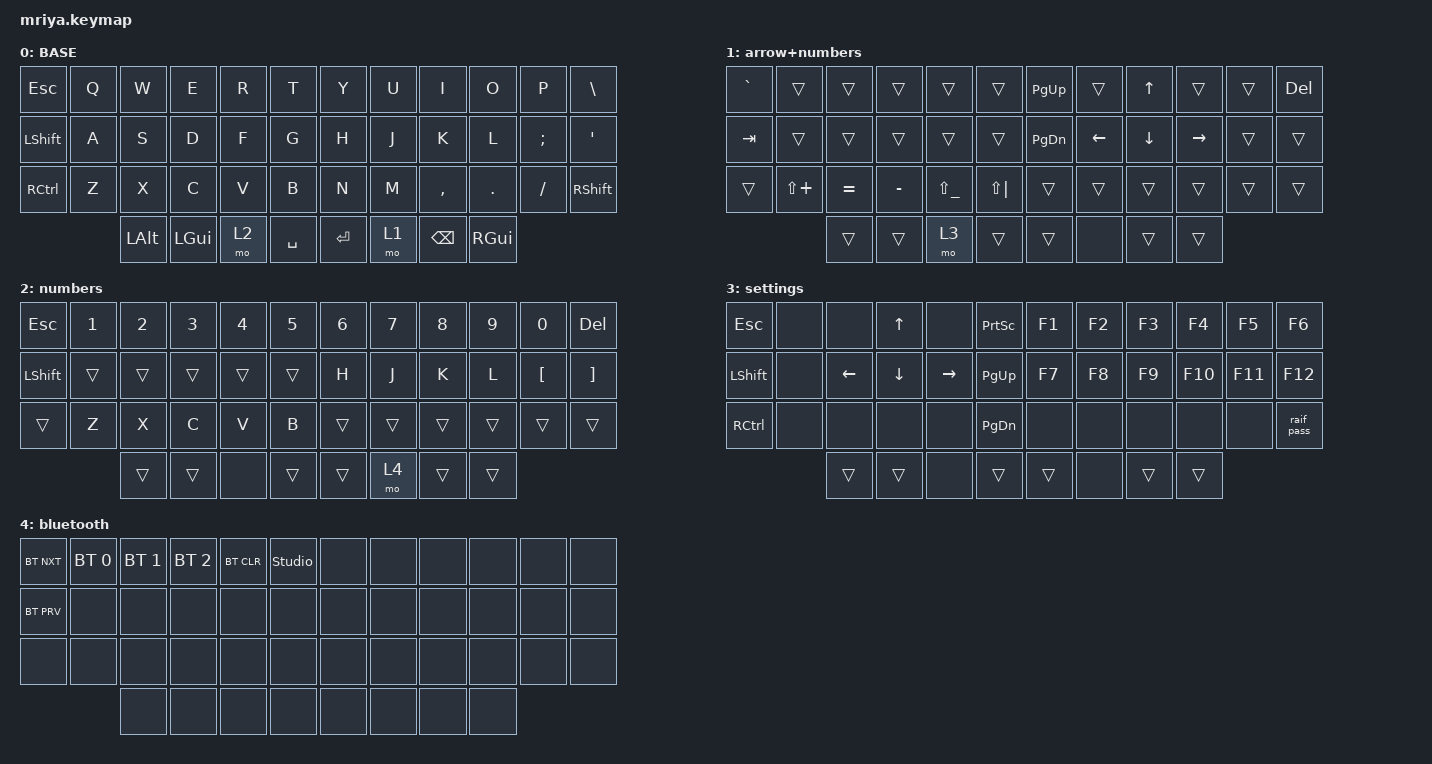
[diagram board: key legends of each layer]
/*
 * Copyright (c) 2023 Andrei Gaevskii
 *
 * SPDX-License-Identifier: MIT
 */

#include <behaviors.dtsi>
#include <dt-bindings/zmk/bt.h>
#include <dt-bindings/zmk/keys.h>

#define DEF 0
#define LWR 1
#define RSE 2
#define ADJ 3

&lt { quick_tap_ms = <200>; };

&mt { quick_tap_ms = <200>; };

/ {
    macros {
        raif_pass: raif_pass {
            compatible = "zmk,behavior-macro";
            #binding-cells = <0>;
            bindings = <&kp LS(N) &kp B &kp V &kp E &kp H &kp R &kp A &kp I &kp F &kp N2 &kp N6 &kp N1 &kp N0 &kp AMPS>;
            label = "RAIF_PASS";
        };
    };

    keymap {
        compatible = "zmk,keymap";

        BASE {
            bindings = <
  &kp ESCAPE      &kp Q  &kp W     &kp E     &kp R  &kp T        &kp Y      &kp U  &kp I      &kp O     &kp P     &kp BSLH
  &kp LEFT_SHIFT  &kp A  &kp S     &kp D     &kp F  &kp G        &kp H      &kp J  &kp K      &kp L     &kp SEMI  &kp SQT
  &kp RCTRL       &kp Z  &kp X     &kp C     &kp V  &kp B        &kp N      &kp M  &kp COMMA  &kp DOT   &kp FSLH  &kp RSHFT
                         &kp LALT  &kp LGUI  &mo 2  &kp SPACE    &kp ENTER  &mo 1  &kp BSPC   &kp RGUI
            >;
        };

        arrow+numbers {
            bindings = <
  &kp GRAVE  &trans        &trans     &trans     &trans         &trans          &kp PAGE_UP    &trans    &kp UP    &trans     &trans  &kp DELETE
  &kp TAB    &trans        &trans     &trans     &trans         &trans          &kp PAGE_DOWN  &kp LEFT  &kp DOWN  &kp RIGHT  &trans  &trans
  &trans     &kp LS(PLUS)  &kp EQUAL  &kp MINUS  &kp LS(UNDER)  &kp LS(PIPE)    &trans         &trans    &trans    &trans     &trans  &trans
                           &trans     &trans     &mo 3          &trans          &trans         &none     &trans    &trans
            >;
        };

        numbers {
            bindings = <
  &kp ESCAPE      &kp N1  &kp N2  &kp N3  &kp N4  &kp N5    &kp N6  &kp N7  &kp N8  &kp N9  &kp N0            &kp DEL
  &kp LEFT_SHIFT  &trans  &trans  &trans  &trans  &trans    &kp H   &kp J   &kp K   &kp L   &kp LEFT_BRACKET  &kp RIGHT_BRACKET
  &trans          &kp Z   &kp X   &kp C   &kp V   &kp B     &trans  &trans  &trans  &trans  &trans            &trans
                          &trans  &trans  &none   &trans    &trans  &mo 4   &trans  &trans
            >;
        };

        settings {
            bindings = <
  &kp ESC         &none  &none     &kp UP    &none      &kp PRINTSCREEN    &kp F1  &kp F2  &kp F3  &kp F4   &kp F5   &kp F6
  &kp LEFT_SHIFT  &none  &kp LEFT  &kp DOWN  &kp RIGHT  &kp PAGE_UP        &kp F7  &kp F8  &kp F9  &kp F10  &kp F11  &kp F12
  &kp RCTRL       &none  &none     &none     &none      &kp PAGE_DOWN      &none   &none   &none   &none    &none    &raif_pass
                         &trans    &trans    &none      &trans             &trans  &none   &trans  &trans
            >;
        };

        bluetooth {
            bindings = <
  &bt BT_NXT  &bt BT_SEL 0  &bt BT_SEL 1  &bt BT_SEL 2  &bt BT_CLR  &studio_unlock    &none  &none  &none  &none  &none  &none
  &bt BT_PRV  &none         &none         &none         &none       &none             &none  &none  &none  &none  &none  &none
  &none       &none         &none         &none         &none       &none             &none  &none  &none  &none  &none  &none
                            &none         &none         &none       &none             &none  &none  &none  &none
            >;
        };
    };
};
